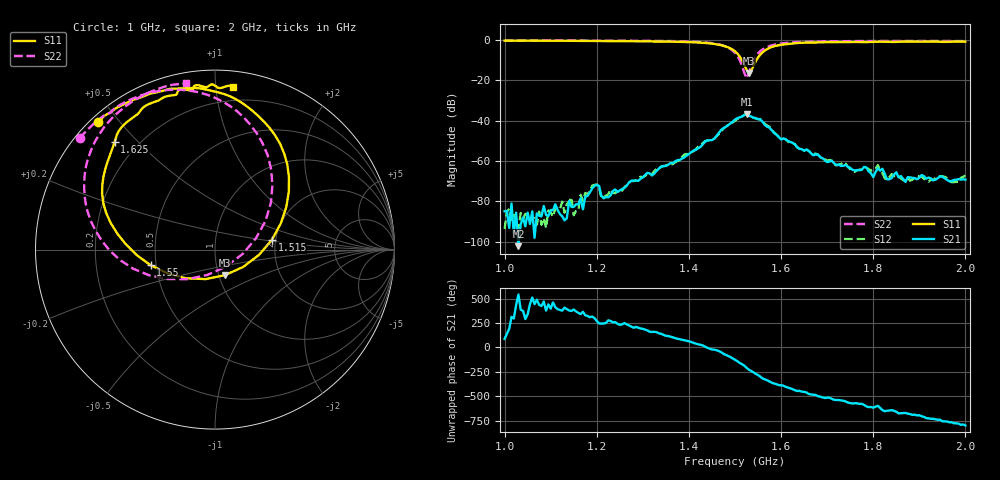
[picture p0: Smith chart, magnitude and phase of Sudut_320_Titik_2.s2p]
# Hz S RI R 50
! CMT, C1220, 16058040, 17.2.0/1
! Date: 14/08/2018 12:49:51
! Data: Format (Calibration Info)
! Freq  S11: Re/Im (F2)  S21: Re/Im (F2)  S12: Re/Im (F2)  S22: Re/Im (F2)
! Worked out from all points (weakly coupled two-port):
!   201 points, 1 GHz to 2 GHz, reference 50 ohm
!   highest |S21| = -36.71 dB at 1.525 GHz (marker M1); lowest = -102.3 dB at 1.03 GHz (marker M2)
!   lowest |S11| = -16.3 dB at 1.53 GHz (marker M3), VSWR 1.36, Z = 53.6 - j15.6 ohm
!   |S11| at or under -10 dB: 1.515 GHz to 1.546 GHz (31.19 MHz wide, 2.04 % of centre)
!   |S22| runs from -18.9 to -0.2 dB; largest |S21 - S12| = 0.00065
!   S11 on the Smith chart (normalised r, x): 1 GHz: 0.02, +0.44; 1.515 GHz: 1.91, +0.23; 1.55 GHz: 0.47, -0.09; 1.625 GHz: 0.12, +0.43; 2 GHz: 0.10, +1.11
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1e9  -0.6509 0.7136  1.44e-06 5.65e-05  1.53e-06 -2.04e-05  -0.7537 0.6215
1.03e9  -0.6273 0.7354  -7.66e-06 -4.03e-07  -1.91e-05 -6.2e-06  -0.734 0.6438
1.17e9  -0.4808 0.8231  6.27e-05 7.06e-06  0.0001 2.18e-05  -0.6182 0.7468
1.19e9  -0.4508 0.8364  0.000152 -0.000139  0.000165 -0.000179  -0.5955 0.7587
1.205e9  -0.4341 0.8407  -9.25e-05 -0.000222  -9.21e-05 -0.000199  -0.5824 0.7611
1.21e9  -0.4293 0.8424  -5.92e-05 -0.000122  -5.58e-05 -0.000105  -0.5806 0.7641
1.335e9  -0.2191 0.897  -0.000532 0.000371  -0.00051 0.000393  -0.4036 0.8617
1.45e9  0.1832 0.7936  0.00309 -0.00114  0.00311 -0.00137  0.0175 0.8372
1.5e9  0.4117 0.3249  -0.00616 -0.00863  -0.00574 -0.00814  0.32 0.3578
1.515e9  0.3165 0.0537  -0.0123 -0.00197  -0.0124 -0.00228  0.2278 0.0631
1.525e9  0.1572 -0.0964  -0.0129 0.00679  -0.013 0.00675  0.0613 -0.0949
1.53e9  0.0562 -0.142  -0.0089 0.00966  -0.009 0.00969  -0.0453 -0.142
1.55e9  -0.3577 -0.0877  0.00242 0.0106  0.00197 0.0107  -0.4546 -0.1069
1.58e9  -0.6223 0.2595  0.00571 -0.000185  0.00594 -0.000418  -0.7092 0.2096
1.625e9  -0.5588 0.602  0.00108 -0.00261  0.00109 -0.0025  -0.7032 0.5186
1.67e9  -0.4452 0.7444  -0.000796 -0.00113  -0.000802 -0.00127  -0.6271 0.6687
1.76e9  -0.2655 0.8548  -0.000495 0.000306  -0.000452 0.000292  -0.4858 0.8076
1.785e9  -0.214 0.8648  -0.000303 0.000615  -0.000282 0.000621  -0.4499 0.8315
1.8e9  -0.207 0.8817  -8.64e-05 0.000389  -0.000123 0.000567  -0.4289 0.8441
1.81e9  -0.194 0.891  -0.00034 0.000569  0.000162 0.00077  -0.4156 0.8522
1.835e9  -0.1356 0.8866  0.000102 0.000336  9.96e-05 0.000385  -0.3816 0.8693
2e9  0.1025 0.9055  5.98e-05 -0.000339  0.000125 -0.000418  -0.1592 0.93
